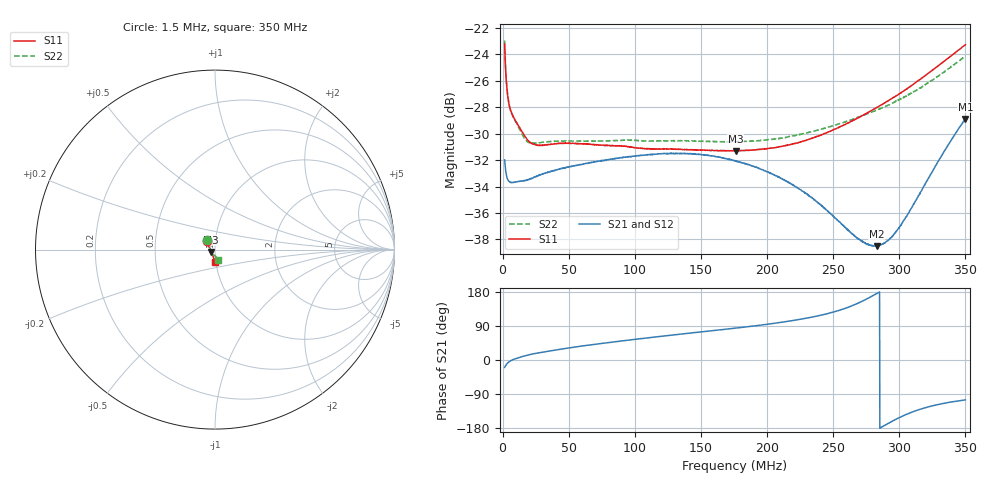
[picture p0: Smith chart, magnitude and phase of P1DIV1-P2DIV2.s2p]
# Hz S RI R 50
! RAW DATA - UNCALIBRATED
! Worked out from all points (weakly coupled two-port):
!   1601 points, 1.5 MHz to 350 MHz, reference 50 ohm
!   highest |S21| = -28.88 dB at 350 MHz (marker M1); lowest = -38.5 dB at 282.9 MHz (marker M2)
!   lowest |S11| = -31.3 dB at 176.4 MHz (marker M3), VSWR 1.06, Z = 47.7 - j1.31 ohm
!   |S11| at or under -10 dB: start of sweep to end of sweep
!   |S22| runs from -30.7 to -22.9 dB; largest |S21 - S12| = 0.0016
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1500000  -0.0472 0.0505  0.0238 -0.00834  0.0236 -0.00866  -0.0467 0.0538
3895938  -0.0371 0.0231  0.021 -0.00278  0.021 -0.00293  -0.0367 0.0244
4767188  -0.0359 0.0198  0.0208 -0.00185  0.0208 -0.00197  -0.0355 0.0208
5856250  -0.0351 0.017  0.0207 -0.000904  0.0206 -0.00103  -0.0346 0.0177
8905625  -0.0334 0.0134  0.0207 0.000877  0.0204 0.000831  -0.0331 0.0137
1.761812e7  -0.0293 0.00878  0.0206 0.00428  0.0207 0.00434  -0.0287 0.00815
2.153875e7  -0.0283 0.0068  0.0207 0.00558  0.0207 0.00537  -0.0285 0.00606
2.676625e7  -0.0281 0.00503  0.0208 0.00698  0.0207 0.00677  -0.0289 0.00456
5.965594e7  -0.0289 0.00124  0.0194 0.0145  0.0193 0.0145  -0.0296 0.000792
1.178119e8  -0.0273 -0.0044  0.0126 0.0234  0.0121 0.0233  -0.0283 -0.00883
1.469988e8  -0.0259 -0.00883  0.00774 0.0253  0.00709 0.0253  -0.0252 -0.0155
1.7575e8  -0.0236 -0.0137  0.00261 0.0248  0.00197 0.0248  -0.0197 -0.0219
1.764034e8  -0.0235 -0.0137  0.00246 0.0248  0.00179 0.0247  -0.0196 -0.022
2.062438e8  -0.0203 -0.0193  -0.00277 0.0218  -0.00342 0.0216  -0.0123 -0.0276
2.339059e8  -0.0169 -0.0253  -0.00714 0.0167  -0.00767 0.0163  -0.00515 -0.0318
2.694094e8  -0.0125 -0.0342  -0.011 0.00616  -0.0112 0.00576  0.00283 -0.0365
2.763794e8  -0.0116 -0.0362  -0.0115 0.00356  -0.0116 0.00318  0.00415 -0.0375
2.829138e8  -0.0109 -0.0382  -0.0118 0.000977  -0.0119 0.000489  0.00529 -0.0384
2.920619e8  -0.00957 -0.0412  -0.0122 -0.00286  -0.0121 -0.00334  0.00672 -0.0401
3.029525e8  -0.00795 -0.0451  -0.0124 -0.00796  -0.0121 -0.00837  0.00846 -0.0425
3.32575e8  -0.00324 -0.0587  -0.0112 -0.0239  -0.0103 -0.0244  0.0127 -0.052
3.5e8  -6.48e-05 -0.0687  -0.00947 -0.0347  -0.00798 -0.0352  0.0148 -0.0603
